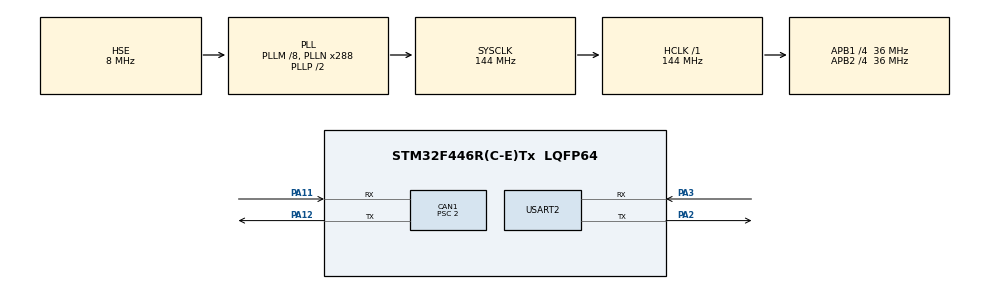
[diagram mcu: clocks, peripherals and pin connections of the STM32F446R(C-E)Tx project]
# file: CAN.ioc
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CAN1.AutoWakeUp=ENABLE
CAN1.CalculateTimeBit=1000
CAN1.CalculateTimeQuantum=55.55555555555556
CAN1.Prescaler=2
CAN1.TimeSeg1=CAN_BS1_12TQ
CAN1.TimeSeg2=CAN_BS2_5TQ
Mcu.Family=STM32F4
Mcu.Name=STM32F446R(C-E)Tx
Mcu.Package=LQFP64
NVIC.CAN1_TX_IRQn=true\:0\:0\:false\:false\:true\:true
NVIC.PriorityGroup=NVIC_PRIORITYGROUP_4
PA11.Mode=Master
PA11.Signal=CAN1_RX
PA12.Mode=Master
PA12.Signal=CAN1_TX
PA2.Mode=Asynchronous
PA2.Signal=USART2_TX
PA3.Mode=Asynchronous
PA3.Signal=USART2_RX
PH0-OSC_IN.Mode=HSE-External-Clock-Source
PH0-OSC_IN.Signal=RCC_OSC_IN
PH1-OSC_OUT.Mode=HSE-External-Clock-Source
PH1-OSC_OUT.Signal=RCC_OSC_OUT
ProjectManager.HeapSize=0x200
ProjectManager.StackSize=0x400
ProjectManager.TargetToolchain=SW4STM32
RCC.AHBFreq_Value=144000000
RCC.APB1CLKDivider=RCC_HCLK_DIV4
RCC.APB1Freq_Value=36000000
RCC.APB1TimFreq_Value=72000000
RCC.APB2CLKDivider=RCC_HCLK_DIV4
RCC.APB2Freq_Value=36000000
RCC.APB2TimFreq_Value=72000000
RCC.CortexFreq_Value=144000000
RCC.HCLKFreq_Value=144000000
RCC.HSE_VALUE=8000000
RCC.PLLM=8
RCC.PLLN=288
RCC.PLLSourceVirtual=RCC_PLLSOURCE_HSE
RCC.SYSCLKFreq_VALUE=144000000
RCC.SYSCLKSource=RCC_SYSCLKSOURCE_PLLCLK
RCC.USBFreq_Value=144000000
RCC.VCOOutputFreq_Value=288000000
USART2.VirtualMode=VM_ASYNC
board=CAN

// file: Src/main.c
/**
  ******************************************************************************
  * @file           : main.c
  * @brief          : Main program body
  ******************************************************************************
  ** This notice applies to any and all portions of this file
  * that are not between comment pairs USER CODE BEGIN and
  * USER CODE END. Other portions of this file, whether
  * inserted by the user or by software development tools
  * are owned by their respective copyright owners.
  *
  * COPYRIGHT(c) 2018 STMicroelectronics
  *
  * Redistribution and use in source and binary forms, with or without modification,
  * are permitted provided that the following conditions are met:
  *   1. Redistributions of source code must retain the above copyright notice,
  *      this list of conditions and the following disclaimer.
  *   2. Redistributions in binary form must reproduce the above copyright notice,
  *      this list of conditions and the following disclaimer in the documentation
  *      and/or other materials provided with the distribution.
  *   3. Neither the name of STMicroelectronics nor the names of its contributors
  *      may be used to endorse or promote products derived from this software
  *      without specific prior written permission.
  *
  * THIS SOFTWARE IS PROVIDED BY THE COPYRIGHT HOLDERS AND CONTRIBUTORS "AS IS"
  * AND ANY EXPRESS OR IMPLIED WARRANTIES, INCLUDING, BUT NOT LIMITED TO, THE
  * IMPLIED WARRANTIES OF MERCHANTABILITY AND FITNESS FOR A PARTICULAR PURPOSE ARE
  * DISCLAIMED. IN NO EVENT SHALL THE COPYRIGHT HOLDER OR CONTRIBUTORS BE LIABLE
  * FOR ANY DIRECT, INDIRECT, INCIDENTAL, SPECIAL, EXEMPLARY, OR CONSEQUENTIAL
  * DAMAGES (INCLUDING, BUT NOT LIMITED TO, PROCUREMENT OF SUBSTITUTE GOODS OR
  * SERVICES; LOSS OF USE, DATA, OR PROFITS; OR BUSINESS INTERRUPTION) HOWEVER
  * CAUSED AND ON ANY THEORY OF LIABILITY, WHETHER IN CONTRACT, STRICT LIABILITY,
  * OR TORT (INCLUDING NEGLIGENCE OR OTHERWISE) ARISING IN ANY WAY OUT OF THE USE
  * OF THIS SOFTWARE, EVEN IF ADVISED OF THE POSSIBILITY OF SUCH DAMAGE.
  *
  ******************************************************************************
  */
#include "main.h"
#include "stm32f4xx_hal.h"

/* USER CODE BEGIN Includes */
#include <string.h>
#include <stdlib.h>
#include <inttypes.h>
/* USER CODE END Includes */

CAN_HandleTypeDef hcan1;

UART_HandleTypeDef huart2;

/* USER CODE BEGIN PV */
/* Private variables ---------------------------------------------------------*/
CAN_RxHeaderTypeDef RxHeader;
CAN_FilterTypeDef sFilter;
HAL_CAN_StateTypeDef state;
uint32_t full;
/* USER CODE END PV */

void SystemClock_Config(void);
static void MX_GPIO_Init(void);
static void MX_USART2_UART_Init(void);
static void MX_CAN1_Init(void);

/* USER CODE BEGIN PFP */
/* Private function prototypes -----------------------------------------------*/

/* USER CODE END PFP */

int main(void)
{

  /* MCU Configuration----------------------------------------------------------*/

  /* Reset of all peripherals, Initializes the Flash interface and the Systick. */
  HAL_Init();

  /* Configure the system clock */
  SystemClock_Config();

  /* Initialize all configured peripherals */
  MX_GPIO_Init();
  MX_USART2_UART_Init();
  MX_CAN1_Init();
  /* USER CODE BEGIN 2 */
  sFilter.FilterMode = CAN_FILTERMODE_IDMASK;
  sFilter.FilterIdLow = 0;
  sFilter.FilterIdHigh = 0;
  sFilter.FilterMaskIdHigh = 0;
  sFilter.FilterMaskIdLow = 0;
  sFilter.FilterFIFOAssignment = CAN_FILTER_FIFO0;
  sFilter.FilterBank = 0;
  sFilter.FilterScale  = CAN_FILTERSCALE_16BIT;
  sFilter.FilterActivation = ENABLE;
  HAL_CAN_ConfigFilter(&hcan1, &sFilter);

  HAL_CAN_Start(&hcan1);

  /* USER CODE END 2 */

  /* Infinite loop */
  while (1)
  {

  /* USER CODE BEGIN 3 */
	  uint8_t TxData[8];
	  TxData[0] = 1;
	  TxData[1] = 2;
	  TxData[2] = 3;
	  TxData[3] = 4;
	  TxData[4] = 5;
	  TxData[5] = 6;
	  TxData[6] = 7;
	  TxData[7] = 8;
	  //CAN_Send(0x64, TxData, 8);

	  int idsave;
	  uint8_t RxData[8];
	  idsave = CAN_Receive(RxData, 8);

	  char msg[256];
	  for(int i = 0; i < 8; i++){
		  sprintf(msg, "msg: %d  id: %d \r\n", RxData[i], idsave);
		  HAL_UART_Transmit(&huart2, (uint8_t*)msg, strlen(msg), 10);
	  }

	  HAL_Delay(1000);
  }
  /* USER CODE END 3 */

}

void SystemClock_Config(void)
{

  RCC_OscInitTypeDef RCC_OscInitStruct;
  RCC_ClkInitTypeDef RCC_ClkInitStruct;

    /**Configure the main internal regulator output voltage
    */
  __HAL_RCC_PWR_CLK_ENABLE();

  __HAL_PWR_VOLTAGESCALING_CONFIG(PWR_REGULATOR_VOLTAGE_SCALE1);

    /**Initializes the CPU, AHB and APB busses clocks
    */
  RCC_OscInitStruct.OscillatorType = RCC_OSCILLATORTYPE_HSE;
  RCC_OscInitStruct.HSEState = RCC_HSE_BYPASS;
  RCC_OscInitStruct.PLL.PLLState = RCC_PLL_ON;
  RCC_OscInitStruct.PLL.PLLSource = RCC_PLLSOURCE_HSE;
  RCC_OscInitStruct.PLL.PLLM = 8;
  RCC_OscInitStruct.PLL.PLLN = 288;
  RCC_OscInitStruct.PLL.PLLP = RCC_PLLP_DIV2;
  RCC_OscInitStruct.PLL.PLLQ = 2;
  RCC_OscInitStruct.PLL.PLLR = 2;
  if (HAL_RCC_OscConfig(&RCC_OscInitStruct) != HAL_OK)
  {
    _Error_Handler(__FILE__, __LINE__);
  }

    /**Initializes the CPU, AHB and APB busses clocks
    */
  RCC_ClkInitStruct.ClockType = RCC_CLOCKTYPE_HCLK|RCC_CLOCKTYPE_SYSCLK
                              |RCC_CLOCKTYPE_PCLK1|RCC_CLOCKTYPE_PCLK2;
  RCC_ClkInitStruct.SYSCLKSource = RCC_SYSCLKSOURCE_PLLCLK;
  RCC_ClkInitStruct.AHBCLKDivider = RCC_SYSCLK_DIV1;
  RCC_ClkInitStruct.APB1CLKDivider = RCC_HCLK_DIV4;
  RCC_ClkInitStruct.APB2CLKDivider = RCC_HCLK_DIV4;

  if (HAL_RCC_ClockConfig(&RCC_ClkInitStruct, FLASH_LATENCY_4) != HAL_OK)
  {
    _Error_Handler(__FILE__, __LINE__);
  }

    /**Configure the Systick interrupt time
    */
  HAL_SYSTICK_Config(HAL_RCC_GetHCLKFreq()/1000);

    /**Configure the Systick
    */
  HAL_SYSTICK_CLKSourceConfig(SYSTICK_CLKSOURCE_HCLK);

  /* SysTick_IRQn interrupt configuration */
  HAL_NVIC_SetPriority(SysTick_IRQn, 0, 0);
}

/* CAN1 init function */
static void MX_CAN1_Init(void)
{

  hcan1.Instance = CAN1;
  hcan1.Init.Prescaler = 2;
  hcan1.Init.Mode = CAN_MODE_NORMAL;
  hcan1.Init.SyncJumpWidth = CAN_SJW_1TQ;
  hcan1.Init.TimeSeg1 = CAN_BS1_12TQ;
  hcan1.Init.TimeSeg2 = CAN_BS2_5TQ;
  hcan1.Init.TimeTriggeredMode = DISABLE;
  hcan1.Init.AutoBusOff = DISABLE;
  hcan1.Init.AutoWakeUp = ENABLE;
  hcan1.Init.AutoRetransmission = DISABLE;
  hcan1.Init.ReceiveFifoLocked = DISABLE;
  hcan1.Init.TransmitFifoPriority = DISABLE;
  if (HAL_CAN_Init(&hcan1) != HAL_OK)
  {
    _Error_Handler(__FILE__, __LINE__);
  }

}

/* USART2 init function */
static void MX_USART2_UART_Init(void)
{

  huart2.Instance = USART2;
  huart2.Init.BaudRate = 115200;
  huart2.Init.WordLength = UART_WORDLENGTH_8B;
  huart2.Init.StopBits = UART_STOPBITS_1;
  huart2.Init.Parity = UART_PARITY_NONE;
  huart2.Init.Mode = UART_MODE_TX_RX;
  huart2.Init.HwFlowCtl = UART_HWCONTROL_NONE;
  huart2.Init.OverSampling = UART_OVERSAMPLING_16;
  if (HAL_UART_Init(&huart2) != HAL_OK)
  {
    _Error_Handler(__FILE__, __LINE__);
  }

}

/** Configure pins as
        * Analog
        * Input
        * Output
        * EVENT_OUT
        * EXTI
*/
static void MX_GPIO_Init(void)
{

  /* GPIO Ports Clock Enable */
  __HAL_RCC_GPIOH_CLK_ENABLE();
  __HAL_RCC_GPIOA_CLK_ENABLE();

}

/* USER CODE BEGIN 4 */
int CAN_Send(int id, uint8_t dataTx[], int size){

	uint32_t mailbox;
	uint8_t flag = 0;

	CAN_TxHeaderTypeDef TxHeader;
	TxHeader.StdId = id;
	TxHeader.IDE = CAN_ID_STD;
	TxHeader.RTR = CAN_RTR_DATA;
	TxHeader.DLC = size;
	TxHeader.TransmitGlobalTime = DISABLE;

	if (HAL_CAN_GetTxMailboxesFreeLevel(&hcan1) != 0 && HAL_CAN_IsTxMessagePending(&hcan1, CAN_TX_MAILBOX0) == 0){
		HAL_CAN_AddTxMessage(&hcan1, &TxHeader, dataTx, &mailbox);
		flag = 1;
	}

	return flag;
}

int CAN_Receive(uint8_t *DataRx, int size){

	if (HAL_CAN_GetRxFifoFillLevel(&hcan1, CAN_RX_FIFO0) != 0){
		HAL_CAN_GetRxMessage(&hcan1, CAN_RX_FIFO0, &RxHeader, DataRx);
	}

	int id = RxHeader.StdId;

	return id;
}
/* USER CODE END 4 */

void _Error_Handler(char *file, int line)
{
  while(1)
  {
  }
}

/************************ (C) COPYRIGHT STMicroelectronics *****END OF FILE****/
